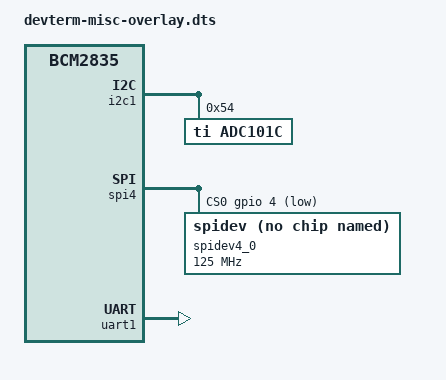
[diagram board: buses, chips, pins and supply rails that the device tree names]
/dts-v1/;
/plugin/;

/{
	compatible = "brcm,bcm2835";

	fragment@0 {
		target = <&i2c1>;
		__overlay__ {
			#address-cells = <1>;
			#size-cells = <0>;
			pinctrl-names = "default";
			pinctrl-0 = <&i2c1_pins>;
			status = "okay";

			adc101c: adc@54 {
				reg = <0x54>;
				compatible = "ti,adc101c";
				status = "okay";
			};
		};
	};

	fragment@1 {
		target = <&spi4>;
		__overlay__ {
			pinctrl-names = "default";
			pinctrl-0 = <&spi4_pins &spi4_cs_pins>;
			cs-gpios = <&gpio 4 1>;
			status = "okay";

			spidev4_0: spidev@0 {
				compatible = "spidev";
				reg = <0>;      /* CE0 */
				#address-cells = <1>;
				#size-cells = <0>;
				spi-max-frequency = <125000000>;
				status = "okay";
			};
		};
	};

	fragment@2 {
		target = <&uart1>;
		__overlay__ {
			pinctrl-names = "default";
			pinctrl-0 = <&uart1_pins>;
			status = "okay";
		};
	};

	fragment@3 {
		target = <&gpio>;
		__overlay__ {

			i2c1_pins: i2c1 {
				brcm,pins = <44 45>;
				brcm,function = <6>;
			};

			spi4_pins: spi4_pins {
				brcm,pins = <6 7>;
				brcm,function = <7>;
			};

			spi4_cs_pins: spi0_cs_pins {
				brcm,pins = <4>;
				brcm,function = <1>;
			};

			uart1_pins: uart1_pins {
				brcm,pins = <14 15>;
				brcm,function = <2>;
				brcm,pull = <0 2>;
			};

		};
	};

	fragment@4 {
		target-path = "/chosen";
		__overlay__ {
			bootargs = "8250.nr_uarts=1";
		};
	};
	
	fragment@5 {
		target = <&pcie0>;
		__overlay__ {
			status = "disabled";
		};
	};

	fragment@6 {
		target = <&genet>;
		__overlay__ {
			status = "disabled";
		};
	};
};
